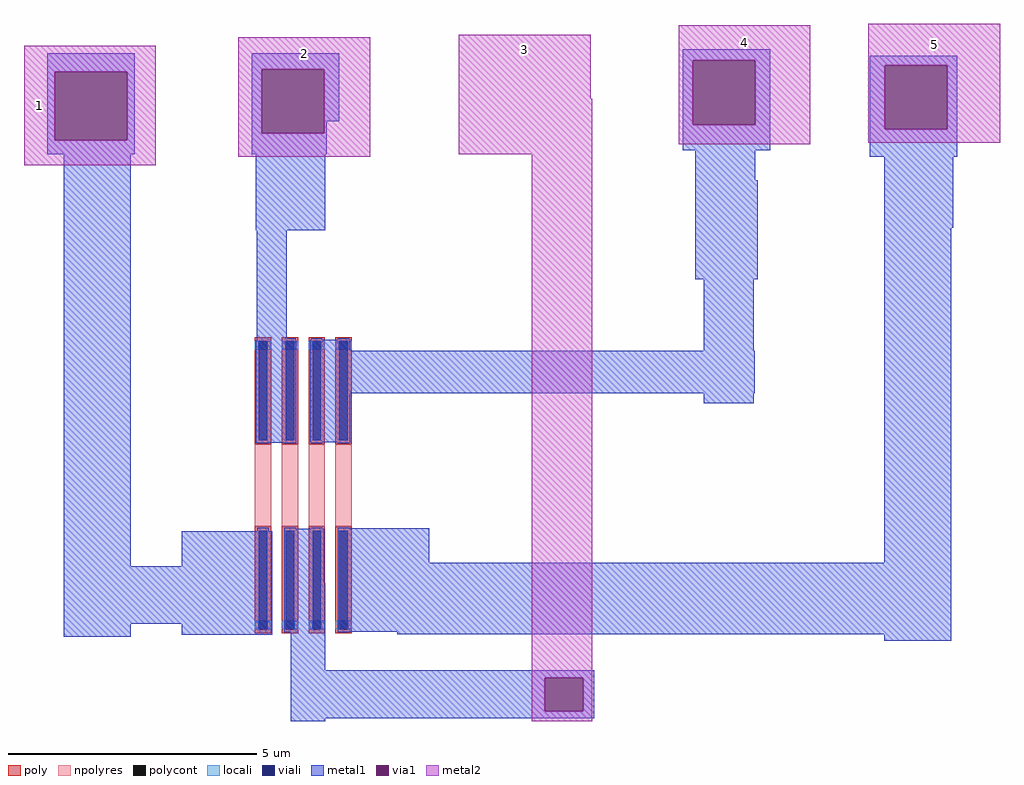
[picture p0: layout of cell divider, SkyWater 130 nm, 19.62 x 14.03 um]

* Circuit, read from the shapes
.subckt divider 1 2 3 4 5
R1 2 1 sky130_fd_pr__res_generic_po w=0.33 l=1.65
R2 2 3 sky130_fd_pr__res_generic_po w=0.33 l=1.65
R3 4 3 sky130_fd_pr__res_generic_po w=0.33 l=1.65
R4 4 5 sky130_fd_pr__res_generic_po w=0.33 l=1.65
.ends

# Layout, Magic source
magic
tech sky130A
magscale 1 2
<< metal1 >>
rect -990 1914 -638 1988
rect -990 1638 -960 1914
rect -668 1638 -638 1914
rect -990 1582 -638 1638
rect -168 1924 184 1988
rect -168 1666 -128 1924
rect 124 1716 184 1924
rect 1564 1960 1916 2004
rect 124 1666 134 1716
rect -168 1582 134 1666
rect 1564 1702 1604 1960
rect 1856 1702 1916 1960
rect 1564 1598 1916 1702
rect 2316 1940 2668 1978
rect 2316 1682 2376 1940
rect 2628 1682 2668 1940
rect -924 -74 -654 1582
rect -152 1276 128 1582
rect 1614 1478 1856 1598
rect 2316 1572 2668 1682
rect -148 834 -28 1276
rect 1614 1080 1866 1478
rect 2374 1286 2652 1572
rect -152 422 10 834
rect 66 792 228 836
rect 1648 792 1850 1080
rect 66 622 1854 792
rect 66 424 228 622
rect 1648 582 1850 622
rect -450 -74 -86 66
rect -924 -306 -86 -74
rect -924 -358 -654 -306
rect -450 -350 -86 -306
rect -38 -140 124 76
rect 182 -60 546 78
rect 2374 -60 2644 1286
rect -38 -336 128 -140
rect -12 -492 128 -336
rect 182 -338 2644 -60
rect 416 -348 2644 -338
rect 2374 -374 2644 -348
rect -12 -522 1208 -492
rect -12 -656 1010 -522
rect 1164 -656 1208 -522
rect -12 -686 1208 -656
rect -12 -698 128 -686
<< via1 >>
rect -960 1638 -668 1914
rect -128 1666 124 1924
rect 1604 1702 1856 1960
rect 2376 1682 2628 1940
rect 1010 -656 1164 -522
<< metal2 >>
rect -1084 1914 -554 2018
rect -1084 1638 -960 1914
rect -668 1638 -554 1914
rect -1084 1538 -554 1638
rect -222 1924 308 2052
rect -222 1666 -128 1924
rect 124 1666 308 1924
rect -222 1572 308 1666
rect 664 1806 1194 2062
rect 1548 1960 2078 2102
rect 664 1582 1200 1806
rect 1548 1702 1604 1960
rect 1856 1702 2078 1960
rect 1548 1622 2078 1702
rect 2310 1940 2840 2108
rect 2310 1682 2376 1940
rect 2628 1682 2840 1940
rect 2310 1628 2840 1682
rect 958 -522 1200 1582
rect 958 -656 1010 -522
rect 1164 -656 1200 -522
rect 958 -698 1200 -656
use sky130_fd_pr__res_generic_po_D4RDDB  sky130_fd_pr__res_generic_po_D4RDDB_0
transform 1 0 39 0 1 251
box -195 -595 195 595
<< labels >>
rlabel metal2 -1084 1538 -960 2018 1 1
rlabel metal2 -222 1924 308 2052 1 2
rlabel metal2 664 1944 1194 2062 1 3
rlabel metal2 1548 1960 2078 2102 1 4
rlabel metal2 2310 1940 2840 2108 1 5
<< end >>

# cell sky130_fd_pr__res_generic_po_D4RDDB: kit device sky130_fd_pr__res_generic_po, w 0.330 l 1.650 m 1 nx 4 wmin 0.330 lmin 1.650 rho 48.2 val 241.0 dummy 0 dw 0.0 term 0.0 sterm 0.0 caplen 0.4 snake 0 guard 0 glc 1 grc 1 gtc 1 gbc 1 roverlap 0 endcov 100 full_metal 1 hv_guard 0 n_guard 0 vias 1 viagb 0 viagt 0 viagl 0 viagr 0
